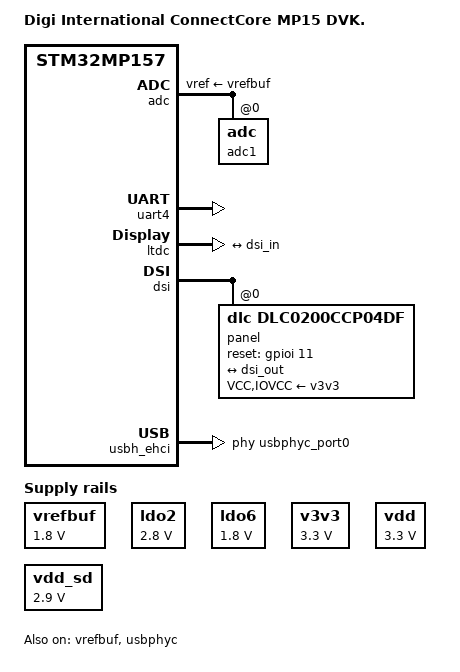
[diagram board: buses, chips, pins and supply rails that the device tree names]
 /*
 * Copyright 2022-2025, Digi International Inc.
 *
 * Permission to use, copy, modify, and/or distribute this software for any
 * purpose with or without fee is hereby granted, provided that the above
 * copyright notice and this permission notice appear in all copies.
 * THE SOFTWARE IS PROVIDED "AS IS" AND THE AUTHOR DISCLAIMS ALL WARRANTIES
 * WITH REGARD TO THIS SOFTWARE INCLUDING ALL IMPLIED WARRANTIES OF
 * MERCHANTABILITY AND FITNESS. IN NO EVENT SHALL THE AUTHOR BE LIABLE FOR
 * ANY SPECIAL, DIRECT, INDIRECT, OR CONSEQUENTIAL DAMAGES OR ANY DAMAGES
 * WHATSOEVER RESULTING FROM LOSS OF USE, DATA OR PROFITS, WHETHER IN AN
 * ACTION OF CONTRACT, NEGLIGENCE OR OTHER TORTIOUS ACTION, ARISING OUT OF
 * OR IN CONNECTION WITH THE USE OR PERFORMANCE OF THIS SOFTWARE.
 */

/dts-v1/;

/* Digi ConnectCore CCMP15 */
#include "ccmp15.dtsi"

/ {
	model = "Digi International ConnectCore MP15 DVK.";
	compatible = "digi,ccmp15-dvk", "digi,ccmp15", "digi,ccmp1", "st,stm32mp157";
	digi,machine,name = "ccmp157-dvk";

	chosen {
		stdout-path = "serial0:115200n8";
	};

	aliases {
		mmc1 = &sdmmc2; /* Micro SD */
		serial3 = &uart7;
	};

	usb_phy_tuning: usb-phy-tuning {
		st,hs-dc-level = <2>;
		st,fs-rftime-tuning;
		st,hs-rftime-reduction;
		st,hs-current-trim = <15>;
		st,hs-impedance-trim = <1>;
		st,squelch-level = <3>;
		st,hs-rx-offset = <2>;
		st,no-lsfs-sc;
	};
};

/*
 * Internal VREFBUF can be set to 2.5 V, 2.048 V, 1.8 V or 1.5 V which are output
 * at VREF+ pad.
 * If you plan to use an external voltage reference, disable vrefbuf and change
 * the ADC 'vref-supply' to the external regulator.
 */
&vrefbuf {
	regulator-min-microvolt = <1800000>;
	regulator-max-microvolt = <1800000>;
	status = "okay";
	regulator-always-on;
};

&adc {
	/* ANA0, ANA1 are dedicated pins and don't need pinctrl */
	vref-supply = <&vrefbuf>;
	status = "okay";

	adc1: adc@0 {
		status = "okay";

		channel@0 {
			reg = <0>;
			label = "ANA0";
			st,min-sample-time-ns = <5000>;
		};
		channel@1 {
			reg = <1>;
			label = "ANA1";
			st,min-sample-time-ns = <5000>;
		};
	};
};

/* Console */
&uart4 {
	pinctrl-names = "default", "sleep", "idle";
	pinctrl-0 = <&uart4_pins_a>;
	pinctrl-1 = <&uart4_sleep_pins_a>;
	pinctrl-2 = <&uart4_idle_pins_a>;
	/delete-property/dmas;
	/delete-property/dma-names;
	status = "okay";
};

/* 10/100 Ethernet */
&ethernet0 {
	status = "disabled";
	pinctrl-0 = <&ethernet0_rmii_pins_a>;
	pinctrl-1 = <&ethernet0_rmii_sleep_pins_a>;
	pinctrl-names = "default", "sleep";
	phy-mode = "rmii";
	max-speed = <100>;
	phy-handle = <&phy0>;
	st,eth-ref-clk-sel = <1>;
	st,ext-phyclk = <1>;

	mdio0 {
		#address-cells = <1>;
		#size-cells = <0>;
		compatible = "snps,dwmac-mdio";

		phy0: ethernet-phy@0 {
			reg = <0>;
			compatible = "ethernet-phy-id0007.c0f0"; /* PHY ID for SMSC LAN8720Ai */
			smsc,disable-energy-detect;
		};
	};
};

&ldo2 {
	regulator-min-microvolt = <2800000>;
	regulator-max-microvolt = <2800000>;
	regulator-always-on;
};

&ldo6 {
	regulator-min-microvolt = <1800000>;
	regulator-max-microvolt = <1800000>;
	regulator-always-on;
};

/* Display Controller for MIPI-DSI to HDMI */
&ltdc {
	default-on;
	status = "okay";

	port {
		ltdc_ep0_out: endpoint {
			remote-endpoint = <&dsi_in>;
		};
	};
};

&dsi {
	#address-cells = <1>;
	#size-cells = <0>;
	default-on;
	status = "okay";

	panel@0 {
		compatible = "dlc,dlc0200ccp04df";
		reg = <0>;
		VCC-supply = <&v3v3>;
		IOVCC-supply = <&v3v3>;
		reset-gpios = <&gpioi 11 GPIO_ACTIVE_HIGH>; /* LTDC_G6 */
		status = "okay";

		port {
			panel_in: endpoint {
				remote-endpoint = <&dsi_out>;
			};
		};
	};

};

&dsi_in {
	remote-endpoint = <&ltdc_ep0_out>;
};

&dsi_out {
	remote-endpoint = <&panel_in>;
};

&usbh_ehci {
	phys = <&usbphyc_port0>;
	phy-names = "usb";
	status = "okay";
};

&usbphyc {
	status = "okay";
};

&usbphyc_port0 {
	phy-supply = <&vdd_usb>;
	st,phy-tuning = <&usb_phy_tuning>;
};

&v3v3 {
	regulator-min-microvolt = <3300000>;
	regulator-max-microvolt = <3300000>;
	regulator-always-on;
};

&vbus_otg {
	regulator-always-on;
};

&vbus_sw {
	regulator-always-on;
};

&vdd {
	regulator-min-microvolt = <3300000>;
	regulator-max-microvolt = <3300000>;
	regulator-always-on;
};

&vdd_sd {
	regulator-min-microvolt = <2900000>;
	regulator-max-microvolt = <2900000>;
	regulator-always-on;
};
